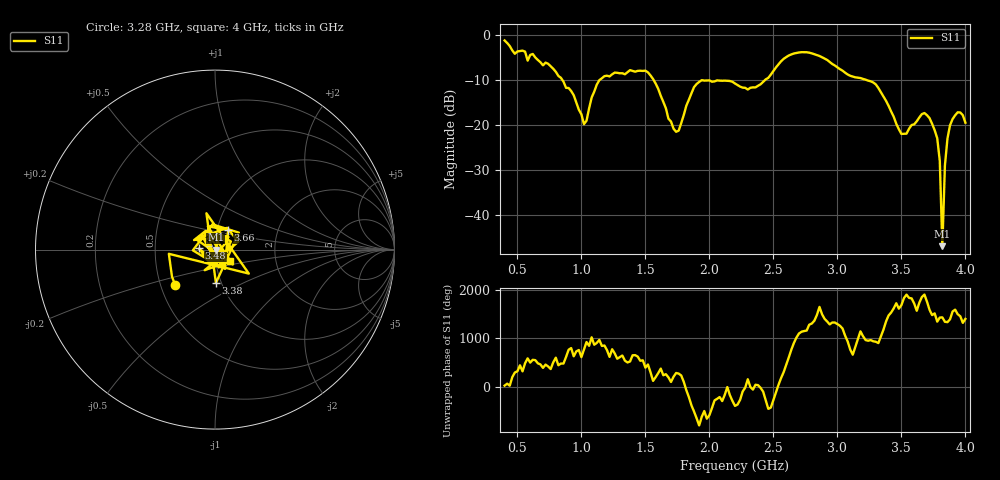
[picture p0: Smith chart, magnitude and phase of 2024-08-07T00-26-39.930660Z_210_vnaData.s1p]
!Created with skrf (http://scikit-rf.org).
# Hz S RI R 50.0
!freq ReS11 ImS11
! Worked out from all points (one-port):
!   181 points, 400 MHz to 4 GHz, reference 50 ohm
!   lowest |S11| = -47.0 dB at 3.82 GHz (marker M1), VSWR 1.01, Z = 50.4 - j0.0348 ohm
!   |S11| at or under -10 dB: 851.7 MHz to 1.141 GHz (289.4 MHz wide, 29 % of centre); 1.565 GHz to 2.434 GHz (869.8 MHz wide, 43.5 % of centre); 3.228 GHz to end of sweep
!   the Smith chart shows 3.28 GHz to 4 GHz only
!   S11 on the Smith chart (normalised r, x): 3.28 GHz: 0.60, -0.26; 3.38 GHz: 0.94, -0.36; 3.48 GHz: 0.84, +0.01; 3.66 GHz: 1.13, +0.25; 4 GHz: 1.18, -0.15
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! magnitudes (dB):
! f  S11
! 400 MHz  -1.2
! 860 MHz  -10.4
! 940 MHz  -13.4
! 1.02 GHz  -19.8
! 1.14 GHz  -10.0
! 1.3 GHz  -8.5
! 1.52 GHz  -8.3
! 1.72 GHz  -20.8
! 1.76 GHz  -21.3
! 1.9 GHz  -10.9
! 2.2 GHz  -10.8
! 2.36 GHz  -11.6
! 2.66 GHz  -4.1
! 2.86 GHz  -4.6
! 3.1 GHz  -9.0
! 3.28 GHz  -10.5
! 3.38 GHz  -14.6
! 3.48 GHz  -20.9
! 3.56 GHz  -20.8
! 3.66 GHz  -17.6
! 3.72 GHz  -18.5
! 3.78 GHz  -23.0
! 3.8 GHz  -28.0
! 3.82 GHz  -47.0
! 3.84 GHz  -29.0
! 3.86 GHz  -23.0
! 3.94 GHz  -17.2
! 4 GHz  -19.5
